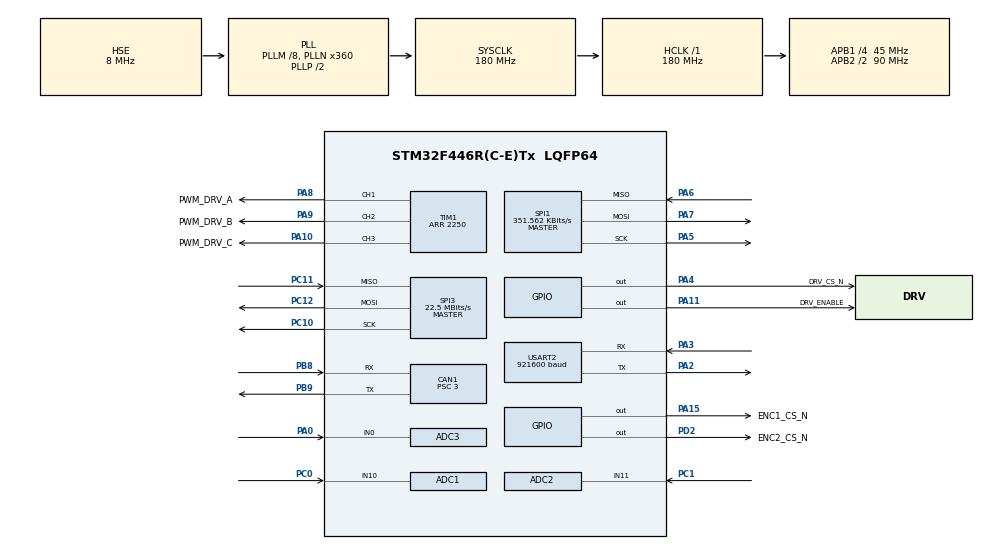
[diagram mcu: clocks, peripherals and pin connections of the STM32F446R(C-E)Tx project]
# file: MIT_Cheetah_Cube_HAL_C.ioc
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ADC1.Channel-0\#ChannelRegularConversion=ADC_CHANNEL_10
ADC1.InjNumberOfConversion=0
ADC1.Mode=ADC_TRIPLEMODE_REGSIMULT
ADC1.NbrOfConversionFlag=1
ADC1.Rank-0\#ChannelRegularConversion=1
ADC1.SamplingTime-0\#ChannelRegularConversion=ADC_SAMPLETIME_15CYCLES
ADC1.master=1
ADC2.Channel-0\#ChannelRegularConversion=ADC_CHANNEL_11
ADC2.Mode=ADC_TRIPLEMODE_REGSIMULT
ADC2.NbrOfConversionFlag=1
ADC2.Rank-0\#ChannelRegularConversion=1
ADC2.SamplingTime-0\#ChannelRegularConversion=ADC_SAMPLETIME_15CYCLES
ADC3.Channel-0\#ChannelRegularConversion=ADC_CHANNEL_0
ADC3.Mode=ADC_TRIPLEMODE_REGSIMULT
ADC3.NbrOfConversionFlag=1
ADC3.Rank-0\#ChannelRegularConversion=1
ADC3.SamplingTime-0\#ChannelRegularConversion=ADC_SAMPLETIME_15CYCLES
CAN1.BS1=CAN_BS1_10TQ
CAN1.BS2=CAN_BS2_4TQ
CAN1.CalculateBaudRate=1000000
CAN1.CalculateTimeBit=1000
CAN1.CalculateTimeQuantum=66.66666666666666
CAN1.NART=ENABLE
CAN1.Prescaler=3
CAN1.SJW=CAN_SJW_2TQ
Mcu.Family=STM32F4
Mcu.Name=STM32F446R(C-E)Tx
Mcu.Package=LQFP64
NVIC.CAN1_RX0_IRQn=true\:3\:0\:true\:false\:true\:true\:true\:true
NVIC.PriorityGroup=NVIC_PRIORITYGROUP_4
NVIC.TIM1_UP_TIM10_IRQn=true\:1\:0\:true\:false\:true\:true\:true\:true
NVIC.TIM2_IRQn=true\:15\:0\:true\:false\:true\:true\:true\:true
NVIC.USART2_IRQn=true\:14\:0\:true\:false\:true\:true\:true\:true
PA0-WKUP.Signal=ADCx_IN0
PA10.GPIO_Label=PWM_DRV_C
PA10.Signal=S_TIM1_CH3
PA11.GPIO_Label=DRV_ENABLE
PA11.GPIO_PuPd=GPIO_PULLDOWN
PA11.Signal=GPIO_Output
PA13.Mode=Serial_Wire
PA13.Signal=SYS_JTMS-SWDIO
PA14.Mode=Serial_Wire
PA14.Signal=SYS_JTCK-SWCLK
PA15.GPIO_Label=ENC1_CS_N
PA15.PinState=GPIO_PIN_SET
PA15.Signal=GPIO_Output
PA2.Mode=Asynchronous
PA2.Signal=USART2_TX
PA3.Mode=Asynchronous
PA3.Signal=USART2_RX
PA4.GPIO_Label=DRV_CS_N
PA4.PinState=GPIO_PIN_SET
PA4.Signal=GPIO_Output
PA5.Mode=Full_Duplex_Master
PA5.Signal=SPI1_SCK
PA6.Mode=Full_Duplex_Master
PA6.Signal=SPI1_MISO
PA7.Mode=Full_Duplex_Master
PA7.Signal=SPI1_MOSI
PA8.GPIO_Label=PWM_DRV_A
PA8.Signal=S_TIM1_CH1
PA9.GPIO_Label=PWM_DRV_B
PA9.Signal=S_TIM1_CH2
PB8.GPIO_PuPd=GPIO_PULLUP
PB8.GPIO_Speed=GPIO_SPEED_FREQ_HIGH
PB8.Mode=CAN_Activate
PB8.Signal=CAN1_RX
PB9.GPIO_PuPd=GPIO_PULLUP
PB9.GPIO_Speed=GPIO_SPEED_FREQ_HIGH
PB9.Mode=CAN_Activate
PB9.Signal=CAN1_TX
PC0.Signal=ADCx_IN10
PC1.Signal=ADCx_IN11
PC10.Mode=Full_Duplex_Master
PC10.Signal=SPI3_SCK
PC11.Mode=Full_Duplex_Master
PC11.Signal=SPI3_MISO
PC12.Mode=Full_Duplex_Master
PC12.Signal=SPI3_MOSI
PD2.GPIO_Label=ENC2_CS_N
PD2.PinState=GPIO_PIN_SET
PD2.Signal=GPIO_Output
PH0-OSC_IN.Mode=HSE-External-Oscillator
PH0-OSC_IN.Signal=RCC_OSC_IN
PH1-OSC_OUT.Mode=HSE-External-Oscillator
PH1-OSC_OUT.Signal=RCC_OSC_OUT
ProjectManager.HeapSize=0x200
ProjectManager.StackSize=0x400
ProjectManager.TargetToolchain=MDK-ARM V5.32
RCC.AHBFreq_Value=180000000
RCC.APB1CLKDivider=RCC_HCLK_DIV4
RCC.APB1Freq_Value=45000000
RCC.APB1TimFreq_Value=90000000
RCC.APB2CLKDivider=RCC_HCLK_DIV2
RCC.APB2Freq_Value=90000000
RCC.APB2TimFreq_Value=180000000
RCC.CortexFreq_Value=180000000
RCC.HCLKFreq_Value=180000000
RCC.HSE_VALUE=8000000
RCC.PLLM=8
RCC.PLLN=360
RCC.PLLSourceVirtual=RCC_PLLSOURCE_HSE
RCC.SYSCLKFreq_VALUE=180000000
RCC.SYSCLKSource=RCC_SYSCLKSOURCE_PLLCLK
RCC.USBFreq_Value=180000000
RCC.VCOOutputFreq_Value=360000000
SH.ADCx_IN0.0=ADC3_IN0,IN0
SH.ADCx_IN10.0=ADC1_IN10,IN10
SH.ADCx_IN11.0=ADC2_IN11,IN11
SH.S_TIM1_CH1.0=TIM1_CH1,PWM Generation1 CH1
SH.S_TIM1_CH2.0=TIM1_CH2,PWM Generation2 CH2
SH.S_TIM1_CH3.0=TIM1_CH3,PWM Generation3 CH3
SPI1.BaudRatePrescaler=SPI_BAUDRATEPRESCALER_256
SPI1.CLKPhase=SPI_PHASE_2EDGE
SPI1.CalculateBaudRate=351.562 KBits/s
SPI1.DataSize=SPI_DATASIZE_16BIT
SPI1.Direction=SPI_DIRECTION_2LINES
SPI1.Mode=SPI_MODE_MASTER
SPI1.VirtualType=VM_MASTER
SPI3.CLKPhase=SPI_PHASE_2EDGE
SPI3.CalculateBaudRate=22.5 MBits/s
SPI3.DataSize=SPI_DATASIZE_16BIT
SPI3.Direction=SPI_DIRECTION_2LINES
SPI3.Mode=SPI_MODE_MASTER
SPI3.VirtualType=VM_MASTER
TIM1.AutoReloadPreload=TIM_AUTORELOAD_PRELOAD_ENABLE
TIM1.Channel-PWM\ Generation1\ CH1=TIM_CHANNEL_1
TIM1.Channel-PWM\ Generation2\ CH2=TIM_CHANNEL_2
TIM1.Channel-PWM\ Generation3\ CH3=TIM_CHANNEL_3
TIM1.CounterMode=TIM_COUNTERMODE_CENTERALIGNED2
TIM1.OCMode_PWM-PWM\ Generation1\ CH1=TIM_OCMODE_PWM2
TIM1.OCMode_PWM-PWM\ Generation2\ CH2=TIM_OCMODE_PWM2
TIM1.OCMode_PWM-PWM\ Generation3\ CH3=TIM_OCMODE_PWM2
TIM1.Period=2250
TIM1.Pulse-PWM\ Generation1\ CH1=1125
TIM1.Pulse-PWM\ Generation2\ CH2=1125
TIM1.Pulse-PWM\ Generation3\ CH3=1125
TIM1.RepetitionCounter=1
TIM2.Prescaler=89
USART2.BaudRate=921600
USART2.VirtualMode=VM_ASYNC
VP_TIM1_VS_ClockSourceINT.Mode=Internal
VP_TIM2_VS_ClockSourceINT.Mode=Internal
board=custom

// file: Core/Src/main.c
/* USER CODE BEGIN Header */
/**
  ******************************************************************************
  * @file           : main.c
  * @brief          : Main program body
  ******************************************************************************
  * @attention
  *
  * Copyright (c) 2026 STMicroelectronics.
  * All rights reserved.
  *
  * This software is licensed under terms that can be found in the LICENSE file
  * in the root directory of this software component.
  * If no LICENSE file comes with this software, it is provided AS-IS.
  *
  ******************************************************************************
  */
/* USER CODE END Header */
#include "main.h"
#include "adc.h"
#include "can.h"
#include "spi.h"
#include "tim.h"
#include "usart.h"
#include "gpio.h"

/* USER CODE BEGIN Includes */
#include "bsp_safe_gpio.h"
#include "bsp_time.h"
#include "bsp_emergency_stop.h"
#include "bsp_debug_uart.h"
#include "DRV.h"
#include "adc_sample.h"
#include "PositionSensor.h"
#include "foc.h"
#include "motor_config.h"
#include "bsp_can.h"
#include "CAN_com.h"
#include "app.h"
#include "PreferenceWriter.h"
#include "calibration.h"                              //接入原工程的相序判断和编码器标定
#include "pwm.h"
#include <stdio.h>
#include <stdlib.h>
#include <math.h>
#include <string.h>
/* USER CODE END Includes */

/* USER CODE BEGIN PV */
ControllerStruct controller;                           //保存FOC控制器运行状态
ObserverStruct observer;                               //保存观测器运行状态

MotorParameters motor_parameters =                     //保存电机参数，并设置启动初值
{
    .I_BW   = 1000.0f,                                  //电流环带宽默认值，Hz
    .I_MAX  = I_MAX_MOTOR,                               //最大电流默认值，A
    .CAN_ID = 1                                         //本机CAN节点默认ID
};

PositionSnapshot position_sample;                      //保存编码器采样结果
FocCommand command = {0};                               //保存控制命令，启动时全部为零

static char cmd_val[8] = {0};                           //沿用原工程的数值缓冲区
static char cmd_id = 0;                                 //沿用原工程的参数前缀
static char char_count = 0;                             //已接收字符数，包含一个参数前缀
static int setup_save_pending = 0;                      //设置命令保存请求，0无请求，1等待保存
/* USER CODE END PV */

void SystemClock_Config(void);
/* USER CODE BEGIN PFP */
static void publish_command(const FocCommand *new_command);
/* USER CODE END PFP */

/* USER CODE BEGIN 0 */
static void onMsgReceived(const CAN_RxFrame *rxMsg)       //在主循环中处理收到的CAN帧
{
	  MotorFeedback feedback;                         //保存本次回复的位置、速度和转矩
    CAN_TxHeaderTypeDef txHeader = {0};             //保存本次反馈帧的发送头
    uint8_t txMsg[8] = {0};                         //提供HAL读取的8字节缓冲，实际发送前6字节
    uint32_t txMailbox;                             //接收HAL选中的发送邮箱编号
    uint32_t primask;                               //保存读取反馈前的中断屏蔽状态
    float i_q_filt;                                 //暂存同一次读取的滤波q轴电流，A
    if ((rxMsg->header.IDE != CAN_ID_STD)|| (rxMsg->header.RTR != CAN_RTR_DATA)|| (rxMsg->header.DLC != 8U)|| (rxMsg->header.StdId != (uint32_t)motor_parameters.CAN_ID))
    {
        return;                                         //仅解析发送给本机的标准8字节数据帧
    }

		controller.timeout = 0U;           //本机帧通过现有帧头检查后，清零CAN超时计数

    switch (unpack_special_cmd(rxMsg->data))             //识别原工程已有的特殊帧
    {
        case 0xFCU:
            can_mode_request = MOTOR_MODE;              //请求进入原工程的电机模式
            break;

        case 0xFDU:
            can_mode_request = REST_MODE;               //请求退出电机模式
            break;

        case 0xFEU:
            can_zero_request = 1;                       //沿用原工程的置零请求
            break;

        case 0xFAU:
            if (rxMsg->data[6] <= 127U)                 //保留原工程本机CAN ID的0～127范围
            {
                can_id_request = rxMsg->data[6];        //保存待设置的本机CAN ID
            }
            break;

        case 0x01U:
            can_master_request = rxMsg->data[6];        //保存待设置的主站ID，字节本身范围为0～255
            break;

        default:
            if (state == MOTOR_MODE)                       //保留原工程仅在电机模式下接收普通控制命令的条件
            {
                FocCommand new_command;                    //保存本次完整解码的五个命令字段

                unpack_cmd(rxMsg->data, &new_command);     //调用已有纯解码函数，还原位置、速度、增益和前馈转矩
                publish_command(&new_command);             //通过已有短临界区一次性发布完整命令
            }
            break;
    }
		    primask = __get_PRIMASK();                      //保存进入临界区前的中断屏蔽状态
    __disable_irq();                               //读取期间暂停控制中断，保证三个反馈量一致
    __DMB();                                       //保证反馈读取位于临界区内

    feedback.p = position_sample.theta_mech;        //读取输出轴机械位置，rad
    feedback.v = position_sample.dtheta_mech;       //读取输出轴机械速度，rad/s
    i_q_filt = controller.i_q_filt;                 //读取滤波后的q轴电流，A

    __DMB();                                       //保证反馈读取完成后再恢复中断
    __set_PRIMASK(primask);                         //恢复进入前的中断屏蔽状态

    feedback.t = i_q_filt * KT_OUT;                 //沿用原工程计算输出端估算转矩，N·m

    pack_reply(txMsg, (uint8_t)motor_parameters.CAN_ID,&feedback);                         //使用已有函数打包前6字节反馈数据

    txHeader.StdId = (uint32_t)motor_parameters.CAN_MASTER; //反馈帧发送到当前主站ID
    txHeader.IDE = CAN_ID_STD;                      //沿用标准帧
    txHeader.RTR = CAN_RTR_DATA;                    //发送数据帧
    txHeader.DLC = 6U;                              //反馈数据长度固定为6字节

    HAL_CAN_AddTxMessage(&hcan1,&txHeader,txMsg,&txMailbox);         //只提交一次，邮箱满或提交失败时放弃本次反馈
}

static void publish_command(const FocCommand *new_command) //发布一条完整的FOC控制命令
{
    uint32_t primask = __get_PRIMASK();                    //保存进入前的中断屏蔽状态

    __disable_irq();                                      //复制期间暂停可屏蔽中断
    __DMB();                                              //保证后续命令复制位于临界区内

    command = *new_command;                               //完整复制五个命令字段

    __DMB();                                              //保证命令写入排在恢复中断之前
    __set_PRIMASK(primask);                                //恢复进入前的中断屏蔽状态
}

static void serial_interrupt(void)                      //在主循环中处理原工程的串口模式命令
{
    char c;                                             //保存本次取出的字符
                                             //保存本次取出的字符
int8_t result = BSP_DebugUart_Read(&c);                  //读取字符和现有接收状态

if (result <= 0)
{
    if (result < 0)                                    //已有接收接口报告输入丢失
    {
        char_count = 0;                                //放弃未收完整的命令
        cmd_id = 0;
        memset(cmd_val, 0, sizeof(cmd_val));
    }

    return;                                            //本次没有可处理的字符
}

    if (c == 27)                                        //沿用原工程，Esc在各模式下请求返回菜单
    {
        can_mode_request = REST_MODE;                   //记录退出当前模式的请求
        return;
    }

    if (state == REST_MODE)                             //沿用原工程，仅在停止模式下接受菜单命令
    {
        switch (c)
        {
            case 'c':
                can_mode_request = CALIBRATION_MODE;    //请求进入编码器标定模式
                break;

            case 'm':
                can_mode_request = MOTOR_MODE;          //请求进入电机运行模式
                break;

            case 'e':
                can_mode_request = ENCODER_MODE;        //请求进入编码器显示模式
                break;

            case 's':
                can_mode_request = SETUP_MODE;          //请求进入参数设置模式
                break;

            case 'z':
                can_zero_request = 1;                   //沿用原工程的置零请求
                break;
        }
    }
		else if (state == SETUP_MODE)                           //处理原工程的参数设置命令
{
    if (c == 13)                                       //沿用原工程，收到回车后解析参数
    {
        switch (cmd_id)
        {
            case 'b':
                motor_parameters.I_BW =
                    fmaxf(fminf((float)atof(cmd_val),
                                2000.0f), 100.0f);      //沿用原工程的100～2000Hz范围
                break;

            case 'i':
                motor_parameters.CAN_ID = atoi(cmd_val); //沿用原工程的本机ID转换
                break;

            case 'm':
                motor_parameters.CAN_MASTER = atoi(cmd_val); //设置模式下m表示主站ID
                break;

            case 'l':
                motor_parameters.I_MAX =
                    fmaxf(fminf((float)atof(cmd_val),
                                I_MAX_MOTOR), 0.0f);    //沿用原工程的最大电流限幅，A
                break;

            case 'f':
                motor_parameters.I_FW_MAX =
                    fmaxf(fminf((float)atof(cmd_val),
                                I_MAX_MOTOR), 0.0f);    //沿用原工程的弱磁电流限幅，A
                break;

            case 't':
                motor_parameters.CAN_TIMEOUT = atoi(cmd_val); //沿用原工程的超时周期数
                break;

            default:
                BSP_DebugUart_TryWrite(
                    "\r\nNot a valid command prefix\r\n"); //沿用原工程的未知前缀提示
                break;
        }

        setup_save_pending = 1;                        //承接原工程回车后的保存和菜单刷新流程
    }
    else
    {
        if (char_count == 0)
        {
            cmd_id = c;                                //第一个字符作为参数前缀
            char_count = 1;
        }
        else if (char_count < sizeof(cmd_val))
        {
            cmd_val[char_count - 1] = c;                //后续字符写入数值缓冲区
            cmd_val[char_count] = '\0';                 //始终保留字符串结束符
            char_count++;
        }
        else
        {
            cmd_id = 0;                                //本条输入过长，不使用截断后的数值修改参数
        }

        char echo[2] = {c, '\0'};                       //将当前字符组成字符串
        BSP_DebugUart_TryWrite(echo);                   //通过现有串口接口回显输入
    }
}
}

static void enter_setup_state(void)                     //执行原工程参数设置模式的入口动作
{
    char text[128];                                    //保存本次显示的六个参数及输入提示
	  char_count = 0;                                        //开始接收下一条完整命令
    cmd_id = 0;
    memset(cmd_val, 0, sizeof(cmd_val));                     //清除上一条命令的数值

    if (!zero_current(&controller.adc1_offset,
                      &controller.adc2_offset))         //保留原工程进入设置模式时的电流零偏采集
    {
        Error_Handler();                               //采集失败时沿用现有错误处理
    }

    snprintf(text, sizeof(text),                       //将当前参数组合成一次串口输出
             "\r\nConfiguration Options\r\n"
             "b=%.1f Hz i=%ld m=%ld\r\n"
             "l=%.1f A f=%.1f A t=%ld cycles\r\n"
             "prefix+value+Enter; Esc=menu\r\n",
             (double)motor_parameters.I_BW,            //电流环带宽，Hz
             (long)motor_parameters.CAN_ID,             //本机CAN ID
             (long)motor_parameters.CAN_MASTER,         //主站CAN ID
             (double)motor_parameters.I_MAX,            //最大电流，A
             (double)motor_parameters.I_FW_MAX,         //最大弱磁电流，A
             (long)motor_parameters.CAN_TIMEOUT);       //CAN超时阈值，单位为控制周期

    BSP_DebugUart_TryWrite(text);                       //通过现有非阻塞串口接口发送参数
}

static void print_encoder(void)
{
    static uint32_t last_print = 0U;                    //记录上次显示时间，单位 ms
    uint32_t now = HAL_GetTick();                       //读取当前毫秒计时
    float theta_mech;                                  //保存本次显示的输出轴机械角度，单位 rad
    char text[96];                                     //保存原工程的两行显示内容

    if ((uint32_t)(now - last_print) < 500U)             //保持原工程约 500 ms 的显示间隔
    {
        return;
    }

    last_print = now;
    theta_mech = position_sample.theta_mech;            //读取已有周期采样结果

    snprintf(text, sizeof(text),
             "Mechanical Angle_GR:%f\r\n"
             "theta_mech:%f\r\n",
             (double)theta_mech,
             (double)theta_mech);                       //原工程这两行对应同一个机械角度

    BSP_DebugUart_TryWrite(text);                       //通过现有串口接口输出
}
/* USER CODE END 0 */

int main(void)
{

  /* USER CODE BEGIN 1 */
	CAN_RxFrame rxMsg;                                      //保存主循环本次从接收邮箱取出的完整帧
  BSP_SafeGpioEarlyInit();
  /* USER CODE END 1 */

  /* MCU Configuration--------------------------------------------------------*/

  /* Reset of all peripherals, Initializes the Flash interface and the Systick. */
  HAL_Init();

  /* Configure the system clock */
  SystemClock_Config();

  /* Initialize all configured peripherals */
  MX_GPIO_Init();
  MX_TIM2_Init();
  MX_USART2_UART_Init();
  MX_SPI1_Init();
  MX_TIM1_Init();
  MX_ADC1_Init();
  MX_ADC2_Init();
  MX_ADC3_Init();
  MX_SPI3_Init();
  MX_CAN1_Init();
  /* USER CODE BEGIN 2 */

	PreferenceWriter_Load(&motor_parameters);      //先从Flash读取旧参数并转换到参数结构体
  PreferenceWriter_Validate(&motor_parameters);  //再按原工程逻辑处理默认值和电流限幅

  if (BSP_CAN_SetFilter((uint16_t)motor_parameters.CAN_ID) != HAL_OK) //启动CAN前配置本机ID过滤器
  {
    Error_Handler();                                  //配置失败时沿用工程现有错误处理
  }

  if (HAL_CAN_Start(&hcan1) != HAL_OK)                    //过滤器配置完成后启动CAN1
  {
    Error_Handler();                                  //启动失败时沿用工程现有错误处理
  }

	if (HAL_CAN_ActivateNotification(&hcan1, CAN_IT_RX_FIFO0_MSG_PENDING) != HAL_OK) //首次开启FIFO0接收通知
  {
      Error_Handler();                                                       //沿用工程现有错误处理
  }

  if (!BSP_Time_Init())
  {
     Error_Handler();
  }

	if (DRV_Init() != HAL_OK)
  {
    Error_Handler();
  }
	reset_foc(&controller);                            //启动时复位原有FOC软件状态
	controller.v_bus = V_NOMINAL;                      //沿用原工程48V的母线电压滤波初值
  reset_observer(&observer);                         //启动时设置观测器温度和相电阻初值
	init_controller_params(&controller);               //启动控制中断前设置电流环增益

	Init_ADC();

  if (!zero_current(&controller.adc1_offset,&controller.adc2_offset))
  {
    Error_Handler();
  }

 PositionSensor_WriteLUT(motor_parameters.ENCODER_LUT);  	// 在启动周期采样前，将参数中的编码器校正表写入模块

	if (PositionSensor_ReadRaw(ENC1_CS_N_GPIO_Port,
                           ENC1_CS_N_Pin,
                           &position_sample.raw) != HAL_OK)    //预先发送主编码器角度命令
{
    Error_Handler();                                          //读取事务失败时沿用现有错误处理
}

if (PositionSensor_ReadRaw(ENC2_CS_N_GPIO_Port,
                           ENC2_CS_N_Pin,
                           &position_sample.raw2) != HAL_OK)   //预先发送副编码器角度命令
{
    Error_Handler();                                          //读取事务失败时沿用现有错误处理
}

  __HAL_TIM_CLEAR_FLAG(&htim1, TIM_FLAG_UPDATE);

  if (HAL_TIM_Base_Start_IT(&htim1) != HAL_OK)
  {
    Error_Handler();
  }

	if (!BSP_DebugUart_StartReceive())                 //启动USART2单字节中断接收
  {
    Error_Handler();                              //启动失败时沿用现有错误处理
  }

BSP_DebugUart_TryWrite("BOOT OK ERR=0\r\n");
  /* USER CODE END 2 */

  /* Infinite loop */
  while (1)
  {

    /* USER CODE BEGIN 3 */
		if (BSP_CAN_Read(&rxMsg) != 0U)                          //从现有接收邮箱取出一帧
    {
       onMsgReceived(&rxMsg);                              //在主循环中识别命令并投递App请求
    }
		serial_interrupt();                                    //处理串口字符并记录请求
		if ((can_id_request >= 0)
    || (can_master_request >= 0)
    || setup_save_pending)                             //同时承接串口设置命令的保存请求
   {
    HAL_StatusTypeDef status;                          //保存解锁、擦除和写入结果
    HAL_StatusTypeDef close_status;                    //单独保存Flash上锁结果

    if (PWM_Stop() != HAL_OK)                          //进入COAST，停止三相PWM和TIM1更新中断
    {
        Error_Handler();                              //停止输出失败时，沿用现有错误处理
    }

    state = setup_save_pending ? SETUP_MODE : REST_MODE;    //串口设置继续留在SETUP，CAN设置沿用REST                                //保存期间退出电机模式
    can_mode_request = -1;                            //清除保存前遗留的模式切换请求
    command = (FocCommand){0};                         //清零原有控制命令
    reset_foc(&controller);                           //清除电流参考和控制器积分等运行状态

    if (can_id_request >= 0)                            //收到CAN修改ID请求时才使用该请求值
    {
        motor_parameters.CAN_ID = can_id_request;      //把待设置的本机ID写入RAM参数
    }

    if (can_master_request >= 0)
    {
        motor_parameters.CAN_MASTER = can_master_request; //把待设置的主站ID写入RAM参数
    }

    status = FlashWriter_Open();                      //解锁Flash并擦除Sector 6

    if (status == HAL_OK)
    {
        status = PreferenceWriter_Flush(&motor_parameters); //按旧布局写回全部已映射参数
    }

    close_status = FlashWriter_Close();               //无论擦写成功或失败，都执行上锁

    if ((status != HAL_OK) || (close_status != HAL_OK))
    {
        Error_Handler();                              //保存失败时保持停止，沿用现有错误处理
    }

    PreferenceWriter_Load(&motor_parameters);         //保存成功后，沿用原工程重新加载参数

    if ((can_id_request >= 0)
        || (setup_save_pending && cmd_id == 'i'))       //CAN或串口修改本机ID后，同步更新过滤器
    {
        if (BSP_CAN_SetFilter((uint16_t)motor_parameters.CAN_ID) != HAL_OK)
        {
            Error_Handler();                          //更新本机ID过滤器失败时，沿用现有错误处理
        }
    }

    can_id_request = -1;                              //清除已处理的本机ID请求，避免重复擦写
    can_master_request = -1;                          //清除已处理的主站ID请求，避免重复擦写

		if (setup_save_pending)
{
    setup_save_pending = 0;                            //清除已完成的保存请求
    enter_setup_state();                               //沿用原工程，保存后重新显示设置菜单
}

    __HAL_TIM_CLEAR_FLAG(&htim1, TIM_FLAG_UPDATE);     //恢复周期中断前清除更新标志

    if (HAL_TIM_Base_Start_IT(&htim1) != HAL_OK)        //恢复周期中断，使采样和反馈继续更新
    {
        Error_Handler();                              //恢复失败时，沿用现有错误处理
    }
   }
	 if ((can_mode_request == REST_MODE)
       || (can_mode_request == CALIBRATION_MODE)        //接入现有串口c命令的标定请求
       || (can_mode_request == MOTOR_MODE)
       || (can_mode_request == SETUP_MODE)
       || (can_mode_request == ENCODER_MODE))            //接入原工程的编码器显示模式
  {
    int next_state = can_mode_request;                   //取出本次请求的目标模式
    can_mode_request = -1;                              //清除已取出的请求

    if ((next_state != state) || (next_state == REST_MODE))
    {
        if (BSP_EmergencyStop_IsActive())                //沿用现有急停锁存，禁止重新启动已关断的定时器
        {
            Error_Handler();                            //进入工程现有错误处理
        }

        if (PWM_Stop() != HAL_OK)                        //先进入COAST，并停止PWM和TIM1更新中断
        {
            Error_Handler();                            //停止失败时沿用现有错误处理
        }

        state = REST_MODE;                              //切换准备期间保持停止模式
        command = (FocCommand){0};                      //清除上一次运行留下的控制命令
        reset_foc(&controller);                         //复位电流参考和控制器运行状态
        controller.timeout = 0U;                        //重新开始累计CAN超时周期

        if (next_state == MOTOR_MODE)
        {
            if ((PWM_Start() != HAL_OK)
                || BSP_EmergencyStop_IsActive())         //启动PWM，并承接启动期间已有的急停处理
            {
                Error_Handler();                        //启动失败时沿用现有错误处理
            }

            state = MOTOR_MODE;                         //启动成功后，允许控制中断执行FOC
        }
        else
    {
    state = next_state;                                //进入请求的非电机模式

    if (state == SETUP_MODE)
    {
        enter_setup_state();                           //TIM1采样中断停止期间执行设置入口
    }

    if (state == CALIBRATION_MODE)
    {
        HAL_StatusTypeDef status;
        HAL_StatusTypeDef close_status;

        if ((PWM_Start() != HAL_OK) || BSP_EmergencyStop_IsActive())
        {
            Error_Handler();                            //沿用现有PWM启动和急停处理
        }

        order_phases(&position_sample, &controller, &motor_parameters);
        if (BSP_EmergencyStop_IsActive())
        {
            Error_Handler();                            //承接现有采样中断触发的关断
        }

        calibrate_encoder(&position_sample, &motor_parameters); //在主循环顺序完成正反扫描、偏置和LUT计算
        if ((PWM_Stop() != HAL_OK) || BSP_EmergencyStop_IsActive())
        {
            Error_Handler();                            //保存前进入COAST并停止PWM和TIM1更新中断
        }
        reset_foc(&controller);

        status = FlashWriter_Open();                    //复用阶段8已有的参数保存接口
        if (status == HAL_OK)
        {
            status = PreferenceWriter_Flush(&motor_parameters);
        }
        close_status = FlashWriter_Close();             //保存后恢复Flash上锁
        if ((status != HAL_OK) || (close_status != HAL_OK))
        {
            Error_Handler();                            //保存失败时沿用现有错误处理
        }

        HAL_Delay(200U);                                 //保留原工程完成提示前的等待
        BSP_DebugUart_TryWrite("\r\nCalibration complete. Press 'esc' to return to menu\r\n");
    }

    __HAL_TIM_CLEAR_FLAG(&htim1, TIM_FLAG_UPDATE);       //恢复周期采样前清除更新标志

    if (HAL_TIM_Base_Start_IT(&htim1) != HAL_OK)         //恢复采样，三相PWM继续保持停止
    {
        Error_Handler();                               //恢复失败时沿用现有错误处理
    }
    }
    }
   }

    if (state == ENCODER_MODE)                          //进入编码器模式后周期显示角度
    {
        print_encoder();
    }
  }
  /* USER CODE END 3 */
}

void SystemClock_Config(void)
{
  RCC_OscInitTypeDef RCC_OscInitStruct = {0};
  RCC_ClkInitTypeDef RCC_ClkInitStruct = {0};

  /** Configure the main internal regulator output voltage
  */
  __HAL_RCC_PWR_CLK_ENABLE();
  __HAL_PWR_VOLTAGESCALING_CONFIG(PWR_REGULATOR_VOLTAGE_SCALE1);

  /** Initializes the RCC Oscillators according to the specified parameters
  * in the RCC_OscInitTypeDef structure.
  */
  RCC_OscInitStruct.OscillatorType = RCC_OSCILLATORTYPE_HSE;
  RCC_OscInitStruct.HSEState = RCC_HSE_ON;
  RCC_OscInitStruct.PLL.PLLState = RCC_PLL_ON;
  RCC_OscInitStruct.PLL.PLLSource = RCC_PLLSOURCE_HSE;
  RCC_OscInitStruct.PLL.PLLM = 8;
  RCC_OscInitStruct.PLL.PLLN = 360;
  RCC_OscInitStruct.PLL.PLLP = RCC_PLLP_DIV2;
  RCC_OscInitStruct.PLL.PLLQ = 2;
  RCC_OscInitStruct.PLL.PLLR = 2;
  if (HAL_RCC_OscConfig(&RCC_OscInitStruct) != HAL_OK)
  {
    Error_Handler();
  }

  /** Activate the Over-Drive mode
  */
  if (HAL_PWREx_EnableOverDrive() != HAL_OK)
  {
    Error_Handler();
  }

  /** Initializes the CPU, AHB and APB buses clocks
  */
  RCC_ClkInitStruct.ClockType = RCC_CLOCKTYPE_HCLK|RCC_CLOCKTYPE_SYSCLK
                              |RCC_CLOCKTYPE_PCLK1|RCC_CLOCKTYPE_PCLK2;
  RCC_ClkInitStruct.SYSCLKSource = RCC_SYSCLKSOURCE_PLLCLK;
  RCC_ClkInitStruct.AHBCLKDivider = RCC_SYSCLK_DIV1;
  RCC_ClkInitStruct.APB1CLKDivider = RCC_HCLK_DIV4;
  RCC_ClkInitStruct.APB2CLKDivider = RCC_HCLK_DIV2;

  if (HAL_RCC_ClockConfig(&RCC_ClkInitStruct, FLASH_LATENCY_5) != HAL_OK)
  {
    Error_Handler();
  }
}

void Error_Handler(void)
{
  /* USER CODE BEGIN Error_Handler_Debug */
  /* User can add his own implementation to report the HAL error return state */
  __disable_irq();
	  BSP_EmergencyStop(BSP_ERROR_HAL);
  while (1)
  {
  }
  /* USER CODE END Error_Handler_Debug */
}
